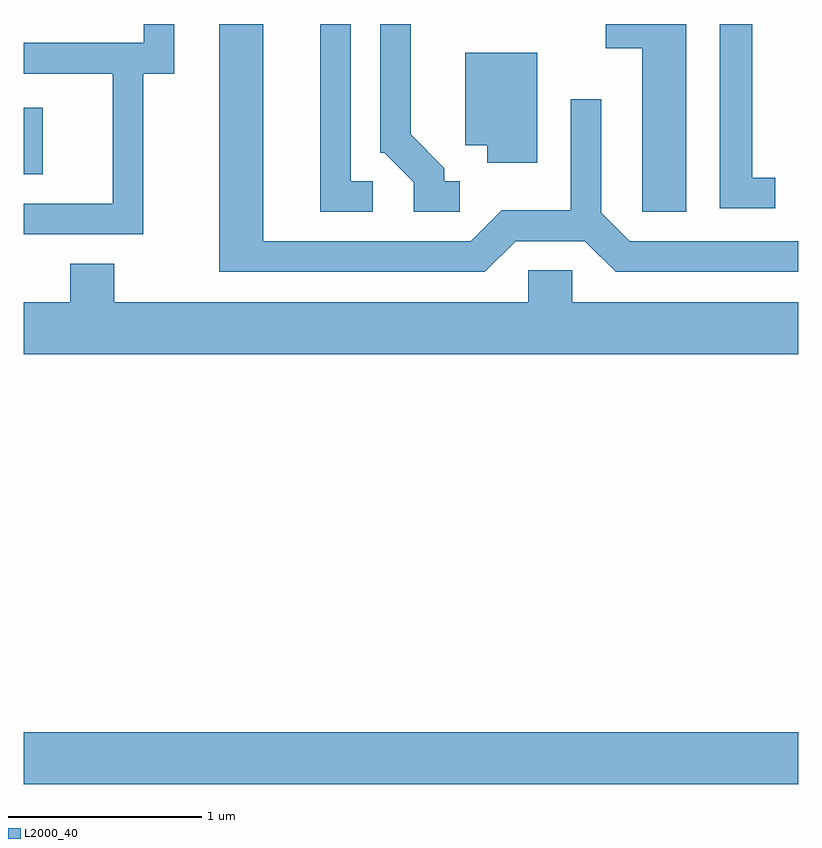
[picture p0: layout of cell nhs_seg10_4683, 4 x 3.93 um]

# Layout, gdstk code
import gdstk
lib = gdstk.Library(unit=1e-6, precision=1e-09)
def R(c, l, rs):  # rectangles x0, y0, x1, y1
    for r in rs: c.add(gdstk.rectangle(r[:2], r[2:], *l))
def P(c, l, *ps):  # polygons
    for p in ps: c.add(gdstk.Polygon(p, *l))
L2000_40 = (2000, 40)

nhs_seg10_4683 = lib.new_cell('nhs_seg10_4683')
R(nhs_seg10_4683, L2000_40, [(323.611,2100.596,327.611,2100.864), (323.611,2103.746,323.709,2104.089)])
P(nhs_seg10_4683, L2000_40, [(326.152,2103.401),(326.509,2103.401),(326.669,2103.241),(327.611,2103.241),(327.611,2103.399),(326.742,2103.399),(326.594,2103.547),(326.594,2104.133),(326.436,2104.133),(326.436,2103.559),(326.079,2103.559),(325.919,2103.399),(324.849,2103.399),(324.849,2104.522),(324.621,2104.522),(324.621,2103.241),(325.992,2103.241)],
  [(327.034,2104.522),(326.618,2104.522),(326.618,2104.396),(326.806,2104.396),(326.806,2103.551),(327.034,2103.551)],
  [(324.229,2104.266),(324.389,2104.266),(324.389,2104.522),(324.231,2104.522),(324.231,2104.424),(323.611,2104.424),(323.611,2104.266),(324.071,2104.266),(324.071,2103.594),(323.611,2103.594),(323.611,2103.436),(324.229,2103.436)],
  [(325.413,2103.709),(325.299,2103.709),(325.299,2104.522),(325.141,2104.522),(325.141,2103.551),(325.413,2103.551)],
  [(325.863,2103.709),(325.784,2103.709),(325.784,2103.777),(325.609,2103.952),(325.609,2104.522),(325.451,2104.522),(325.451,2103.856),(325.474,2103.856),(325.626,2103.704),(325.626,2103.551),(325.863,2103.551)],
  [(327.493,2103.729),(327.374,2103.729),(327.374,2104.522),(327.206,2104.522),(327.206,2103.571),(327.493,2103.571)],
  [(326.264,2104.374),(325.891,2104.374),(325.891,2103.896),(326.006,2103.896),(326.006,2103.806),(326.264,2103.806)],
  [(327.611,2103.084),(326.444,2103.084),(326.444,2103.249),(326.216,2103.249),(326.216,2103.084),(324.079,2103.084),(324.079,2103.284),(323.851,2103.284),(323.851,2103.084),(323.611,2103.084),(323.611,2102.816),(327.611,2102.816)])

lib.write_gds('nhs_seg10_4683.gds')
